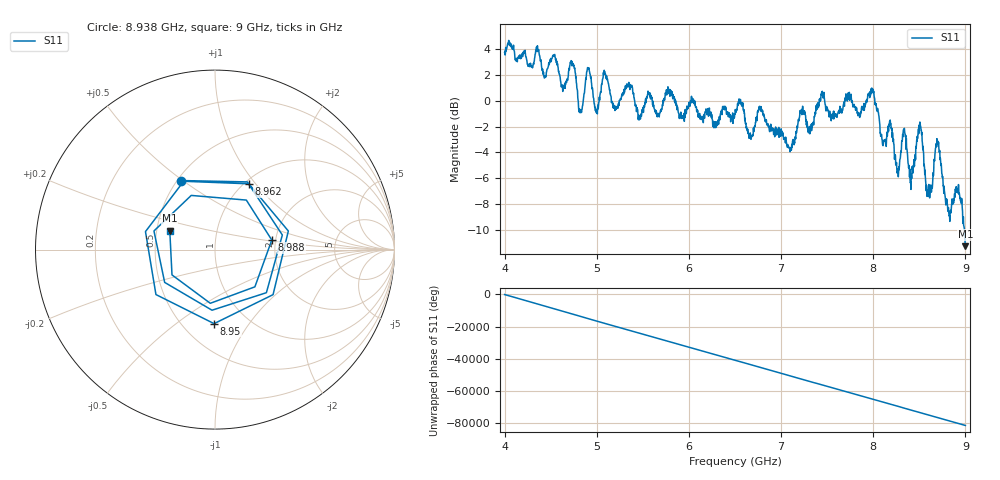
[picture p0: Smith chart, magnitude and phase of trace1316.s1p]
! Created with skrf 1.8.0 (http://scikit-rf.org).
# Hz S RI R 50.0
!freq ReS11 ImS11
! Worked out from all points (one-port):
!   1601 points, 4 GHz to 9 GHz, reference 50 ohm
!   lowest |S11| = -11.3 dB at 9 GHz (marker M1), VSWR 1.75, Z = 29.3 + j6.73 ohm
!   |S11| at or under -10 dB: 8.988821 GHz to end of sweep
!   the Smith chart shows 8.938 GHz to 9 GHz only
!   S11 on the Smith chart (normalised r, x): 8.938 GHz: 0.52, +0.49; 8.95 GHz: 0.70, -0.70; 8.962 GHz: 1.04, +0.92; 8.988 GHz: 1.91, +0.23; 9 GHz: 0.59, +0.13
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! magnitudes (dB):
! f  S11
! 4 GHz  3.7
! 4.534 GHz  3.5
! 4.625 GHz  1.1
! 4.731 GHz  2.7
! 4.822 GHz  -0.9
! 4.912 GHz  2.5
! 4.994 GHz  -0.9
! 5.088 GHz  2.2
! 5.25 GHz  0.0
! 5.875 GHz  -0.5
! 6.5 GHz  -1.0
! 7.125 GHz  -3.1
! 7.441 GHz  0.7
! 7.75 GHz  0.4
! 7.991 GHz  0.9
! 8.256 GHz  -5.3
! 8.334 GHz  -2.2
! 8.375 GHz  -4.6
! 8.425 GHz  -5.3
! 8.503 GHz  -1.9
! 8.597 GHz  -7.4
! 8.697 GHz  -3.2
! 8.809 GHz  -8.5
! 8.938 GHz  -7.4
! 8.95 GHz  -7.7
! 8.962 GHz  -7.7
! 8.988 GHz  -9.9
! 9 GHz  -11.3
